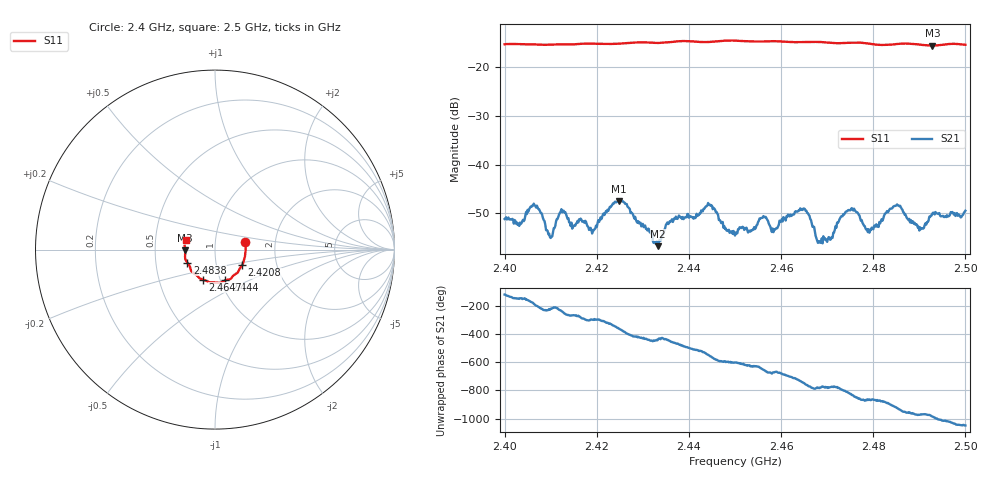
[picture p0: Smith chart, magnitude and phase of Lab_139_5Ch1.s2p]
# Hz S RI R 50
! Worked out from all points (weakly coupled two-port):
!   601 points, 2.4 GHz to 2.5 GHz, reference 50 ohm
!   highest |S21| = -47.47 dB at 2.4248 GHz (marker M1); lowest = -56.7 dB at 2.4333 GHz (marker M2)
!   lowest |S11| = -15.6 dB at 2.4928 GHz (marker M3), VSWR 1.40, Z = 35.7 - j0.327 ohm
!   |S11| at or under -10 dB: start of sweep to end of sweep
!   S12 and S22 are empty: the file has one direction only
!   S11 on the Smith chart (normalised r, x): 2.4 GHz: 1.39, +0.12; 2.4208 GHz: 1.33, -0.24; 2.444 GHz: 1.05, -0.37; 2.4647 GHz: 0.83, -0.29; 2.4838 GHz: 0.73, -0.11; 2.5 GHz: 0.72, +0.08
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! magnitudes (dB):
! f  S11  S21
! 2.4 GHz  -15.3  -51.1
! 2.4033 GHz  -15.3  -51.9
! 2.4067 GHz  -15.4  -48.4
! 2.41 GHz  -15.4  -55.0
! 2.4123 GHz  -15.3  -49.1
! 2.4167 GHz  -15.2  -51.3
! 2.4208 GHz  -15.2  -50.8
! 2.4248 GHz  -15.2  -47.5
! 2.4333 GHz  -15.0  -56.7
! 2.4358 GHz  -14.9  -51.6
! 2.444 GHz  -14.9  -48.4
! 2.45 GHz  -14.6  -54.6
! 2.4647 GHz  -14.9  -49.3
! 2.4667 GHz  -14.8  -52.1
! 2.4685 GHz  -14.9  -56.0
! 2.4748 GHz  -15.0  -49.3
! 2.479 GHz  -15.2  -53.2
! 2.4833 GHz  -15.4  -49.6
! 2.4838 GHz  -15.4  -49.0
! 2.4905 GHz  -15.4  -53.1
! 2.4928 GHz  -15.6  -50.0
! 2.5 GHz  -15.4  -49.5
